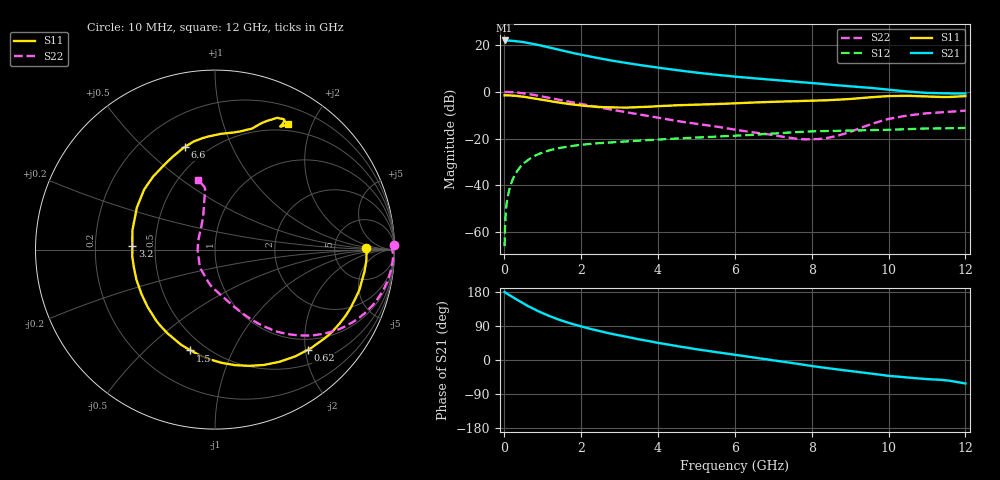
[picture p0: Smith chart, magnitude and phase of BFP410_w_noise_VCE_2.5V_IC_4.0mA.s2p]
! Infineon Technologies  Discrete & RF Semiconductors
! BFP410
! VCE =  2.5 V,  IC =  4.0 mA
! Common Emitter S-Parameters:  Nov 2015
# GHz  S  MA  R  50
!  f  S11  S21  S12  S22
! GHz  MAG  ANG  MAG  ANG  MAG  ANG  MAG  ANG
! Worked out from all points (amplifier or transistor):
!   243 points, 10 MHz to 12 GHz, reference 50 ohm
!   highest |S21| = 22.0 dB at 10 MHz (marker M1)
!   |S21| within 3 dB of that: start of sweep to 1.17 GHz
!   unconditionally stable (mu >= 1): 3.317 GHz to end of sweep
!   at 240 MHz: K = 0.08, MSG = 29.3 dB, |S12| = -36.8 dB
!   at 1.84 GHz: K = 0.56, MSG = 19.7 dB, |S12| = -23.0 dB
!   at 12 GHz: K = 1.09, MAG = 5.6 dB, |S12| = -15.4 dB
!   lowest NFmin = 0.94 dB at 900 MHz
!   S11 on the Smith chart (normalised r, x): 10 MHz: 12, +1; 620 MHz: 0.77, -2.04; 1.5 GHz: 0.41, -0.70; 3.2 GHz: 0.37, +0.02; 6.6 GHz: 0.38, +0.68; 12 GHz: 0.41, +1.66
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0.01  0.8418 0.7  12.57 179.4  0.0005 84.1  0.9952 1.4
0.02  0.8444 -1.1  12.51 178.6  0.0012 83.3  0.9872 0.0
0.05  0.8457 -3.8  12.45 176.3  0.0033 89.0  0.9936 -1.5
0.14  0.8383 -10.8  12.44 171.0  0.0086 84.2  0.9896 -5.5
0.3  0.8226 -23.3  12.19 161.1  0.0181 78.0  0.9704 -12.0
0.4  0.8066 -30.9  11.92 155.1  0.0237 74.4  0.9527 -15.8
0.62  0.7607 -47.3  11.15 142.4  0.0349 66.6  0.9008 -23.7
0.8  0.7211 -60.1  10.41 133.0  0.043 61.0  0.8515 -29.6
1  0.6749 -73.7  9.589 123.5  0.0506 55.3  0.7928 -35.3
1.28  0.6163 -91.3  8.472 111.8  0.0591 48.6  0.7141 -42.0
1.5  0.5781 -103.7  7.675 103.9  0.0643 44.4  0.6579 -46.4
1.74  0.5424 -116.7  6.922 96.1  0.069 40.5  0.6038 -50.5
2.02  0.511 -130.6  6.174 88.2  0.0738 36.7  0.548 -54.6
2.6  0.4697 -158.3  4.987 73.4  0.0815 30.2  0.4448 -62.0
3.2  0.4611 177.5  4.118 61.0  0.0875 25.5  0.364 -68.6
4.1  0.4973 149.2  3.216 43.6  0.0966 20.2  0.2708 -79.9
5  0.5332 130.4  2.581 28.4  0.1051 15.2  0.2077 -95.1
6.1  0.5726 113.1  2.083 12.3  0.1159 10.0  0.1506 -114.3
6.6  0.5963 106.2  1.92 5.0  0.1223 7.5  0.132 -127.1
8.2  0.6523 84.0  1.497 -18.5  0.144 -4.6  0.0979 167.2
10.2  0.8159 63.5  1.073 -43.6  0.1564 -17.5  0.2828 102.1
12  0.8097 59.8  0.919 -62.0  0.1691 -31.4  0.3961 103.6
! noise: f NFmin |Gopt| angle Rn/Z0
0.45  0.98  0.32  5  0.21
0.9  0.94  0.3  19  0.2
1.8  1.11  0.22  51  0.18
2.4  1.13  0.21  57  0.19
5.5  2.09  0.32  -131  0.22
10  3.48  0.67  -53  1.85
